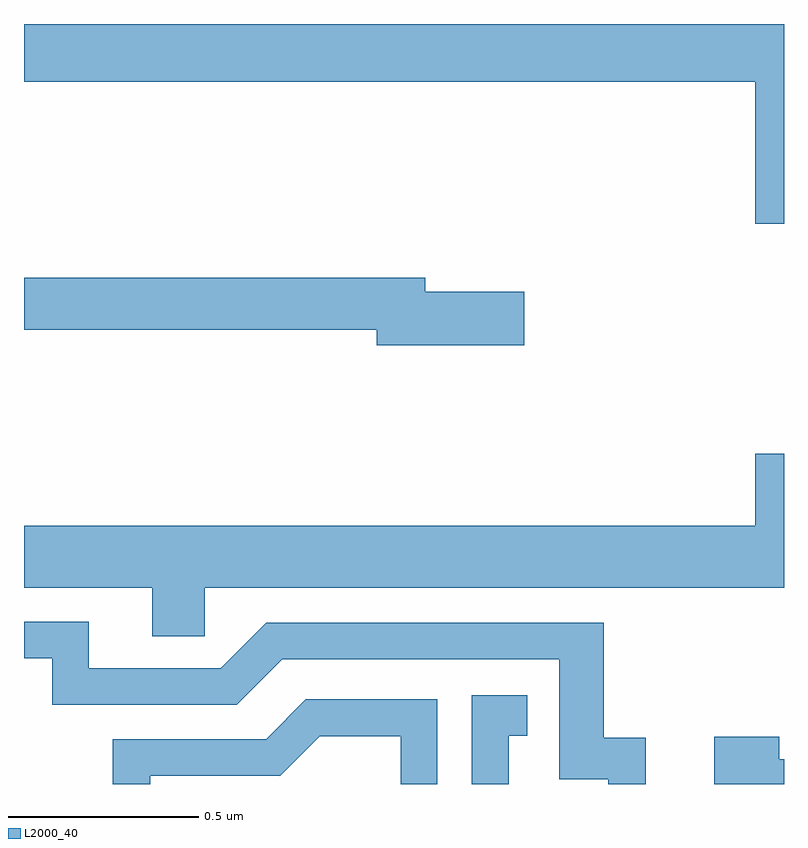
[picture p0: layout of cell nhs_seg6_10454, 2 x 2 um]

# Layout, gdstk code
import gdstk
lib = gdstk.Library(unit=1e-6, precision=1e-09)
def P(c, l, *ps):  # polygons
    for p in ps: c.add(gdstk.Polygon(p, *l))
L2000_40 = (2000, 40)

nhs_seg6_10454 = lib.new_cell('nhs_seg6_10454')
P(nhs_seg6_10454, L2000_40, [(249,935.5),(247,935.5),(247,935.348),(248.924,935.348),(248.924,934.974),(249,934.974)],
  [(248.317,934.796),(248.056,934.796),(248.056,934.832),(247,934.832),(247,934.696),(247.928,934.696),(247.928,934.654),(248.317,934.654)],
  [(247.476,934.016),(249,934.016),(249,934.369),(248.924,934.369),(248.924,934.18),(247,934.18),(247,934.016),(247.337,934.016),(247.337,933.889),(247.476,933.889)],
  [(248.636,933.622),(248.525,933.622),(248.525,933.924),(247.638,933.924),(247.518,933.804),(247.171,933.804),(247.171,933.927),(247,933.927),(247,933.831),(247.074,933.831),(247.074,933.708),(247.56,933.708),(247.68,933.828),(248.409,933.828),(248.409,933.513),(248.538,933.513),(248.538,933.5),(248.636,933.5)],
  [(248.275,933.627),(248.324,933.627),(248.324,933.733),(248.178,933.733),(248.178,933.5),(248.275,933.5)],
  [(247.332,933.522),(247.674,933.522),(247.778,933.626),(247.992,933.626),(247.992,933.5),(248.088,933.5),(248.088,933.723),(247.742,933.723),(247.637,933.618),(247.234,933.618),(247.234,933.5),(247.332,933.5)],
  [(249,933.565),(248.987,933.565),(248.987,933.625),(248.816,933.625),(248.816,933.5),(249,933.5)])

lib.write_gds('nhs_seg6_10454.gds')
